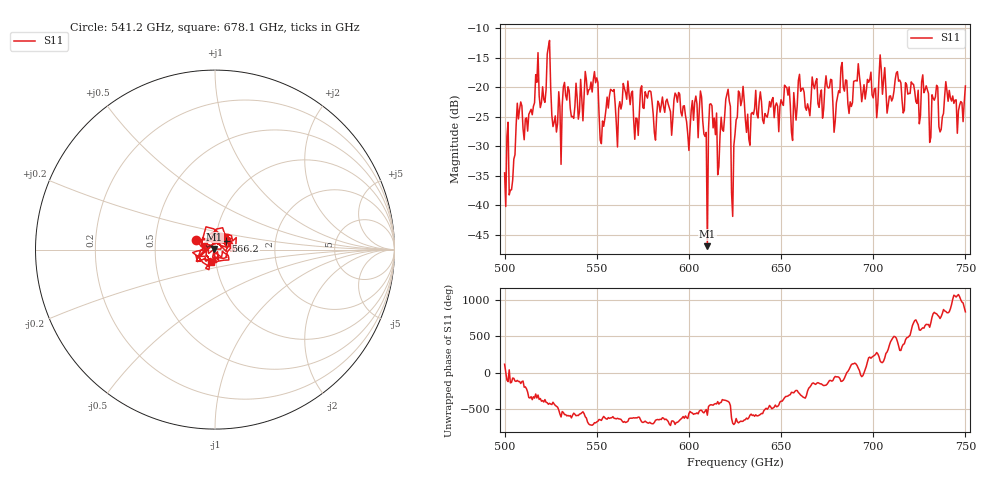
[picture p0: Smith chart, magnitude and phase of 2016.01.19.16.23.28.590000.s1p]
!Created with skrf (http://scikit-rf.org).
# GHz S RI R 50.0
!freq ReS11 ImS11
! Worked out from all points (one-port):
!   401 points, 500 GHz to 750 GHz, reference 50 ohm
!   lowest |S11| = -47.0 dB at 610 GHz (marker M1), VSWR 1.01, Z = 49.7 + j0.325 ohm
!   |S11| at or under -10 dB: start of sweep to end of sweep
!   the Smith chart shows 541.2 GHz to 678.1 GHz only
!   S11 on the Smith chart (normalised r, x): 541.2 GHz: 0.81, +0.09; 566.2 GHz: 1.12, +0.11; 678.1 GHz: 0.95, -0.13
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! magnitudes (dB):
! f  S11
! 500 GHz  -34.5
! 523.8 GHz  -13.1
! 526.9 GHz  -25.9
! 531.2 GHz  -23.0
! 541.2 GHz  -18.6
! 549.4 GHz  -19.2
! 552.5 GHz  -29.6
! 558.1 GHz  -20.5
! 562.5 GHz  -22.4
! 566.2 GHz  -22.0
! 571.2 GHz  -25.2
! 593.8 GHz  -22.5
! 599.4 GHz  -28.0
! 606.9 GHz  -21.7
! 610 GHz  -47.0
! 621.2 GHz  -20.3
! 623.1 GHz  -37.9
! 625 GHz  -28.0
! 628.1 GHz  -23.1
! 631.9 GHz  -24.6
! 653.1 GHz  -20.0
! 656.2 GHz  -29.0
! 660.6 GHz  -20.7
! 678.1 GHz  -22.8
! 687.5 GHz  -22.5
! 718.8 GHz  -21.1
! 736.9 GHz  -27.1
! 750 GHz  -19.8
